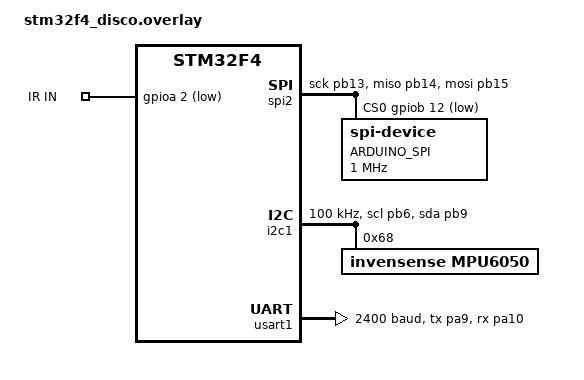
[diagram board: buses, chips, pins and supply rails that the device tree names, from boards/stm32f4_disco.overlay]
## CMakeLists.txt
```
cmake_minimum_required(VERSION 3.20.0)

find_package(Zephyr)
project(stm32)

target_sources(app PRIVATE 
            src/main.c
            src/leds/led.c
            src/sensors/ir_sensor.c
            src/comm/spi.c
            src/sensors/mpu6050.c)
```

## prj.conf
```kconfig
CONFIG_PRINTK=y
CONFIG_HEAP_MEM_POOL_SIZE=2048
CONFIG_KERNEL_MEM_POOL=y
CONFIG_ASSERT=y
CONFIG_GPIO=y
CONFIG_DEBUG=y
CONFIG_SPI=y

CONFIG_I2C=y
CONFIG_SENSOR=y
CONFIG_MPU6050=y

# New start

CONFIG_SERIAL=y
CONFIG_UART_CONSOLE=y       # Keep Zephyr console on USART2
# CONFIG_SHELL=n 
CONFIG_UART_INTERRUPT_DRIVEN=n
CONFIG_USE_SEGGER_RTT=n

CONFIG_LOG=n

CONFIG_EARLY_CONSOLE=y
CONFIG_CONSOLE=y


# New end
```

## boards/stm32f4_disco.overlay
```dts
/ {
    ir_sensor: gpio_keys {
        compatible = "gpio-keys";
        label = "IR Sensor";

        ir_input: ir_input {
            gpios = <&gpioa 2 GPIO_ACTIVE_LOW>;
            label = "IR IN";
        };
    };



    /* Set devicetree aliases */
    aliases {
        irsensor = &ir_input;
        arduinospi = &spi2;
        mpu6050 = &mpu6050;
        raspi4 = &usart1;
    };
};

/* Modify the existing spi2 node */
&spi2 {
    status = "okay";
    pinctrl-0 = <&spi2_sck_pb13 &spi2_miso_pb14 &spi2_mosi_pb15>;
    pinctrl-names = "default";
    cs-gpios = <&gpiob 12 GPIO_ACTIVE_LOW>;

    arduino_spi_dev: arduino@0 {
        compatible = "spi-device";
        reg = <0>;
        spi-max-frequency = <1000000>;
        label = "ARDUINO_SPI";
    };
};

&i2c1 {
    status = "okay";
    pinctrl-0 = <&i2c1_scl_pb6 &i2c1_sda_pb9>;
    pinctrl-names = "default";
    clock-frequency = <I2C_BITRATE_STANDARD>; // 100kHz

    mpu6050: mpu6050@68 {
        compatible = "invensense,mpu6050";
        reg = <0x68>;
        label = "MPU6050";
        // Optional: enable if you wire INT pin
        // int-gpios = <&gpioa 1 GPIO_ACTIVE_HIGH>;
    };
};

&usart1 {
    status = "okay";
    pinctrl-0 = <&usart1_tx_pa9 &usart1_rx_pa10>;
    pinctrl-names = "default";
    current-speed = <2400>;
};
```

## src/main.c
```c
#include <zephyr/kernel.h>
#include <zephyr/device.h>
#include <zephyr/drivers/gpio.h>
#include <zephyr/sys/printk.h>
#include <zephyr/sys/__assert.h>
#include <string.h>
// #include <zephyr/drivers/spi.h>

#include "leds/led.h"
#include "sensors/ir_sensor.h"
#include "comm/spi.h"
#include "sensors/mpu6050.h"

#include <zephyr/drivers/sensor.h>

#include <zephyr/drivers/uart.h>

/* size of stack area used by each thread */
#define STACKSIZE 1024
/* New */
#define MSG_SIZE 64
/* End new */

/* scheduling priority used by each thread */
#define PRIORITY_SENSOR 5
#define PRIORITY_LED 7
#define PRIORITY_MPU 6

K_FIFO_DEFINE(led0_fifo);
K_FIFO_DEFINE(led1_fifo);
K_FIFO_DEFINE(spi_fifo);

static const struct led led0 = {
	.spec = GPIO_DT_SPEC_GET(LED0_NODE, gpios),
	.num = 0,
};

static const struct led led1 = {
	.spec = GPIO_DT_SPEC_GET(LED1_NODE, gpios),
	.num = 1,
};

static const struct ir_sensor ir_sensor0 = {
	.spec = GPIO_DT_SPEC_GET(IR_SENSOR_NODE, gpios),
	// .num = 0,
};

static const struct device *spi_dev = DEVICE_DT_GET(SPI_NODE);

const struct device *const mpu6050 = DEVICE_DT_GET(MPU6050_NODE);

static const struct device *pi4 = DEVICE_DT_GET(UART0_NODE);

void blink0(void)
{
	blink(&led0, &led0_fifo, 0);
}

void blink1(void)
{
	blink(&led1, &led1_fifo, 1);
}

void ir_sensor_read0(void)
{
	ir_sensor_read(&ir_sensor0, &led0_fifo, &led1_fifo, &spi_fifo);
}

void spi_comm0(void)
{
    spi_comm(spi_dev, &spi_fifo);
}

void IMU_read0(void)
{
	IMU_read(mpu6050, &spi_fifo, pi4);
}

int main(void)
{
	return 0;
}

/*	First Thread  */
K_THREAD_DEFINE(blink0_id, STACKSIZE, blink0, NULL, NULL, NULL,
		PRIORITY_LED, 0, 0);

/*	Second Thread  */
K_THREAD_DEFINE(blink1_id, STACKSIZE, blink1, NULL, NULL, NULL,
		PRIORITY_LED, 0, 0);

/*  Third Thread  */
K_THREAD_DEFINE(ir_sensor_read0_id, STACKSIZE, ir_sensor_read0, NULL, NULL, NULL,
		PRIORITY_SENSOR, 0, 0);

/* Fourth Thread for SPI communication */
K_THREAD_DEFINE(spi_comm_id, STACKSIZE, spi_comm0, NULL, NULL, NULL,
        PRIORITY_SENSOR, 0, 0);

/* Fifth Thread for MPU6050 sensor reading */
K_THREAD_DEFINE(mpu6050_id, STACKSIZE, IMU_read0, NULL, NULL, NULL,
		PRIORITY_SENSOR, 0, 0);
```
